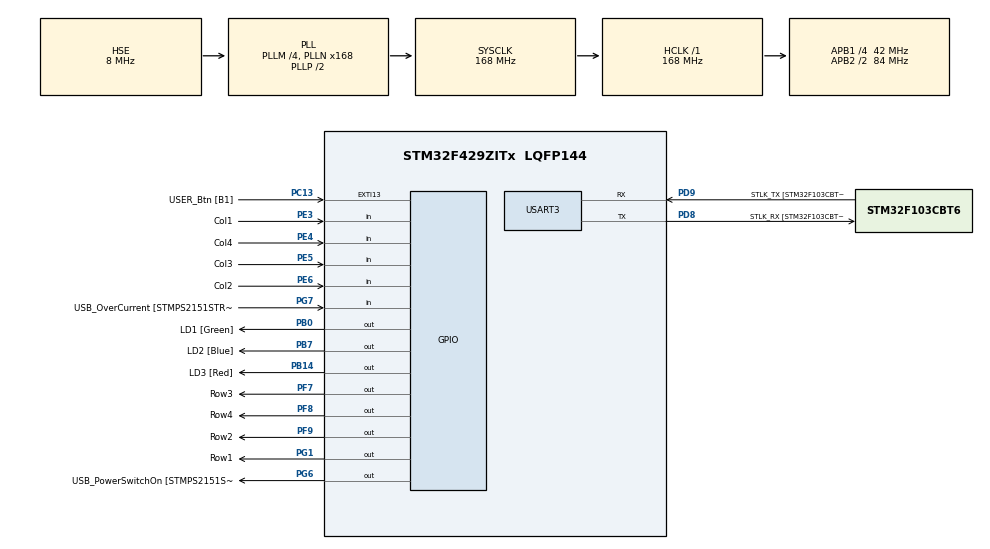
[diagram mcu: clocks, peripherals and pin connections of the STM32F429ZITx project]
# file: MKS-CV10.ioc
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Mcu.Family=STM32F4
Mcu.Name=STM32F429ZITx
Mcu.Package=LQFP144
NVIC.PriorityGroup=NVIC_PRIORITYGROUP_4
NVIC.TIM3_IRQn=true\:0\:0\:false\:false\:true\:true\:true\:true
PA1.GPIO_Label=RMII_REF_CLK [LAN8742A-CZ-TR_REFCLK0]
PA1.Signal=ETH_REF_CLK
PA10.GPIO_Label=USB_ID
PA10.Signal=USB_OTG_FS_ID
PA11.GPIO_Label=USB_DM
PA11.Signal=USB_OTG_FS_DM
PA12.GPIO_Label=USB_DP
PA12.Signal=USB_OTG_FS_DP
PA13.GPIO_Label=TMS
PA13.Mode=Serial_Wire
PA13.Signal=SYS_JTMS-SWDIO
PA14.GPIO_Label=TCK
PA14.Mode=Serial_Wire
PA14.Signal=SYS_JTCK-SWCLK
PA2.GPIO_Label=RMII_MDIO [LAN8742A-CZ-TR_MDIO]
PA2.Signal=ETH_MDIO
PA7.GPIO_Label=RMII_CRS_DV [LAN8742A-CZ-TR_CRS_DV]
PA7.Signal=ETH_CRS_DV
PA8.GPIO_Label=USB_SOF [TP1]
PA8.Signal=USB_OTG_FS_SOF
PA9.GPIO_Label=USB_VBUS
PA9.Signal=USB_OTG_FS_VBUS
PB0.GPIO_Label=LD1 [Green]
PB0.Signal=GPIO_Output
PB13.GPIO_Label=RMII_TXD1 [LAN8742A-CZ-TR_TXD1]
PB13.Signal=ETH_TXD1
PB14.GPIO_Label=LD3 [Red]
PB14.Signal=GPIO_Output
PB7.GPIO_Label=LD2 [Blue]
PB7.Signal=GPIO_Output
PC1.GPIO_Label=RMII_MDC [LAN8742A-CZ-TR_MDC]
PC1.Signal=ETH_MDC
PC13.GPIO_Label=USER_Btn [B1]
PC13.Signal=GPXTI13
PC14/OSC32_IN.Mode=LSE-External-Oscillator
PC14/OSC32_IN.Signal=RCC_OSC32_IN
PC15/OSC32_OUT.Mode=LSE-External-Oscillator
PC15/OSC32_OUT.Signal=RCC_OSC32_OUT
PC4.GPIO_Label=RMII_RXD0 [LAN8742A-CZ-TR_RXD0]
PC4.Signal=ETH_RXD0
PC5.GPIO_Label=RMII_RXD1 [LAN8742A-CZ-TR_RXD1]
PC5.Signal=ETH_RXD1
PD8.GPIO_Label=STLK_RX [STM32F103CBT6_PA3]
PD8.Mode=Asynchronous
PD8.Signal=USART3_TX
PD9.GPIO_Label=STLK_TX [STM32F103CBT6_PA2]
PD9.Mode=Asynchronous
PD9.Signal=USART3_RX
PE3.GPIO_Label=Col1
PE3.GPIO_PuPd=GPIO_PULLUP
PE3.Signal=GPIO_Input
PE4.GPIO_Label=Col4
PE4.GPIO_PuPd=GPIO_PULLUP
PE4.Signal=GPIO_Input
PE5.GPIO_Label=Col3
PE5.GPIO_PuPd=GPIO_PULLUP
PE5.Signal=GPIO_Input
PE6.GPIO_Label=Col2
PE6.GPIO_PuPd=GPIO_PULLUP
PE6.Signal=GPIO_Input
PF7.GPIO_Label=Row3
PF7.GPIO_ModeDefaultOutputPP=GPIO_MODE_OUTPUT_OD
PF7.GPIO_PuPd=GPIO_NOPULL
PF7.Signal=GPIO_Output
PF8.GPIO_Label=Row4
PF8.GPIO_ModeDefaultOutputPP=GPIO_MODE_OUTPUT_OD
PF8.GPIO_PuPd=GPIO_NOPULL
PF8.Signal=GPIO_Output
PF9.GPIO_Label=Row2
PF9.GPIO_ModeDefaultOutputPP=GPIO_MODE_OUTPUT_OD
PF9.GPIO_PuPd=GPIO_NOPULL
PF9.Signal=GPIO_Output
PG1.GPIO_Label=Row1
PG1.GPIO_ModeDefaultOutputPP=GPIO_MODE_OUTPUT_OD
PG1.GPIO_PuPd=GPIO_NOPULL
PG1.Signal=GPIO_Output
PG11.GPIO_Label=RMII_TX_EN [LAN8742A-CZ-TR_TXEN]
PG11.Signal=ETH_TX_EN
PG13.GPIO_Label=RMII_TXD0 [LAN8742A-CZ-TR_TXD0]
PG13.Signal=ETH_TXD0
PG6.GPIO_Label=USB_PowerSwitchOn [STMPS2151STR_EN]
PG6.Signal=GPIO_Output
PG7.GPIO_Label=USB_OverCurrent [STMPS2151STR_FAULT]
PG7.Signal=GPIO_Input
PH0/OSC_IN.GPIO_Label=MCO [STM32F103CBT6_PA8]
PH0/OSC_IN.Mode=HSE-External-Clock-Source
PH0/OSC_IN.Signal=RCC_OSC_IN
PH1/OSC_OUT.Mode=HSE-External-Clock-Source
PH1/OSC_OUT.Signal=RCC_OSC_OUT
ProjectManager.HeapSize=0x200
ProjectManager.StackSize=0x400
ProjectManager.TargetToolchain=STM32CubeIDE
RCC.48MHZClocksFreq_Value=48000000
RCC.AHBFreq_Value=168000000
RCC.APB1CLKDivider=RCC_HCLK_DIV4
RCC.APB1Freq_Value=42000000
RCC.APB1TimFreq_Value=84000000
RCC.APB2CLKDivider=RCC_HCLK_DIV2
RCC.APB2Freq_Value=84000000
RCC.APB2TimCLKDivider=2
RCC.APB2TimFreq_Value=168000000
RCC.CortexFreq_Value=168000000
RCC.HCLKFreq_Value=168000000
RCC.HSE_VALUE=8000000
RCC.HSI_VALUE=16000000
RCC.PLLM=4
RCC.PLLMUL=RCC_PLL_MUL9
RCC.PLLN=168
RCC.PLLQ=7
RCC.PLLSourceVirtual=RCC_PLLSOURCE_HSE
RCC.PRESCALERUSB=RCC_USBCLKSOURCE_PLL_DIV1_5
RCC.SYSCLKFreq_VALUE=168000000
RCC.SYSCLKSource=RCC_SYSCLKSOURCE_PLLCLK
RCC.SYSCLKSourceVirtual=RCC_SYSCLKSOURCE_PLLCLK
RCC.USBFreq_Value=48000000
RCC.VCOOutputFreq_Value=336000000
TIM3.AutoReloadPreload=TIM_AUTORELOAD_PRELOAD_ENABLE
TIM3.Period=99
TIM3.Prescaler=8399
USART3.VirtualMode=VM_ASYNC
VP_TIM3_VS_ClockSourceINT.Mode=Internal
board=NUCLEO-F429ZI

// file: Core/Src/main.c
/* USER CODE BEGIN Header */
/**
  ******************************************************************************
  * @file           : main.c
  * @brief          : Main program body
  ******************************************************************************
  * @attention
  *
  * Copyright (c) 2023 STMicroelectronics.
  * All rights reserved.
  *
  * This software is licensed under terms that can be found in the LICENSE file
  * in the root directory of this software component.
  * If no LICENSE file comes with this software, it is provided AS-IS.
  *
  ******************************************************************************
  */
/* USER CODE END Header */
#include "main.h"

/* USER CODE BEGIN Includes */
#include <stdio.h>

/* USER CODE END Includes */

TIM_HandleTypeDef htim3;

UART_HandleTypeDef huart3;

/* USER CODE BEGIN PV */
volatile static uint32_t key;
static const uint32_t true_code[] = {7,9,3,2,12};
static uint32_t typed_code[] = {0,0,0,0,0};

/* USER CODE END PV */

void SystemClock_Config(void);
static void MX_GPIO_Init(void);
static void MX_USART3_UART_Init(void);
static void MX_TIM3_Init(void);

/* USER CODE BEGIN 0 */
int __io_putchar(int ch)
{
	ITM_SendChar(ch);
	return 0;
}

/* USER CODE END 0 */

int main(void)
{

  /* MCU Configuration--------------------------------------------------------*/

  /* Reset of all peripherals, Initializes the Flash interface and the Systick. */
  HAL_Init();

  /* Configure the system clock */
  SystemClock_Config();

  /* Initialize all configured peripherals */
  MX_GPIO_Init();
  MX_USART3_UART_Init();
  MX_TIM3_Init();
  /* USER CODE BEGIN 2 */
  HAL_TIM_Base_Start_IT(&htim3);
  uint32_t holdon = HAL_GetTick() + 3000;
  uint8_t index = 0;
  /* USER CODE END 2 */

  /* Infinite loop */
  /* USER CODE BEGIN WHILE */
  while (1)
  {
	  if(key != -1)
	  {
		  typed_code[index] = key;
		  holdon = HAL_GetTick() + 3000;
		  printf("Entered: %ld \n", typed_code[index]);
		  if(true_code[index] == typed_code[index])
		  {
			  //printf("Digit %d correct\n", index);
			  if(true_code[4] == typed_code[4])
			  {
				  printf("Access granted\n");
				  HAL_GPIO_TogglePin(LD1_GPIO_Port, LD1_Pin);
				  HAL_Delay(2000);
				  HAL_GPIO_TogglePin(LD1_GPIO_Port, LD1_Pin);

			  }
			  index++;
		  }
		  else
		  {
			  index = 0;
			  for(uint8_t a = 1; a < 6; a++)//clear
			  {
				  typed_code[a] = 0;
			  }
		  }
		  HAL_Delay(300);
		  key = -1;
	  }

	  if(HAL_GetTick() >= holdon && typed_code[0] != 0)
	  {
		  index = 0;
		  holdon = HAL_GetTick() +3000;
		  for(uint8_t b = 0; b < 6; b++)//clear
		  {
			  typed_code[b] = 0;
		  }
		  printf("Time out! \n");
	  }

    /* USER CODE END WHILE */

  }
}

void SystemClock_Config(void)
{
  RCC_OscInitTypeDef RCC_OscInitStruct = {0};
  RCC_ClkInitTypeDef RCC_ClkInitStruct = {0};

  /** Configure the main internal regulator output voltage
  */
  __HAL_RCC_PWR_CLK_ENABLE();
  __HAL_PWR_VOLTAGESCALING_CONFIG(PWR_REGULATOR_VOLTAGE_SCALE1);

  /** Initializes the RCC Oscillators according to the specified parameters
  * in the RCC_OscInitTypeDef structure.
  */
  RCC_OscInitStruct.OscillatorType = RCC_OSCILLATORTYPE_HSE;
  RCC_OscInitStruct.HSEState = RCC_HSE_BYPASS;
  RCC_OscInitStruct.PLL.PLLState = RCC_PLL_ON;
  RCC_OscInitStruct.PLL.PLLSource = RCC_PLLSOURCE_HSE;
  RCC_OscInitStruct.PLL.PLLM = 4;
  RCC_OscInitStruct.PLL.PLLN = 168;
  RCC_OscInitStruct.PLL.PLLP = RCC_PLLP_DIV2;
  RCC_OscInitStruct.PLL.PLLQ = 7;
  if (HAL_RCC_OscConfig(&RCC_OscInitStruct) != HAL_OK)
  {
    Error_Handler();
  }

  /** Initializes the CPU, AHB and APB buses clocks
  */
  RCC_ClkInitStruct.ClockType = RCC_CLOCKTYPE_HCLK|RCC_CLOCKTYPE_SYSCLK
                              |RCC_CLOCKTYPE_PCLK1|RCC_CLOCKTYPE_PCLK2;
  RCC_ClkInitStruct.SYSCLKSource = RCC_SYSCLKSOURCE_PLLCLK;
  RCC_ClkInitStruct.AHBCLKDivider = RCC_SYSCLK_DIV1;
  RCC_ClkInitStruct.APB1CLKDivider = RCC_HCLK_DIV4;
  RCC_ClkInitStruct.APB2CLKDivider = RCC_HCLK_DIV2;

  if (HAL_RCC_ClockConfig(&RCC_ClkInitStruct, FLASH_LATENCY_5) != HAL_OK)
  {
    Error_Handler();
  }
}

static void MX_TIM3_Init(void)
{

  TIM_ClockConfigTypeDef sClockSourceConfig = {0};
  TIM_MasterConfigTypeDef sMasterConfig = {0};

  htim3.Instance = TIM3;
  htim3.Init.Prescaler = 8399;
  htim3.Init.CounterMode = TIM_COUNTERMODE_UP;
  htim3.Init.Period = 99;
  htim3.Init.ClockDivision = TIM_CLOCKDIVISION_DIV1;
  htim3.Init.AutoReloadPreload = TIM_AUTORELOAD_PRELOAD_ENABLE;
  if (HAL_TIM_Base_Init(&htim3) != HAL_OK)
  {
    Error_Handler();
  }
  sClockSourceConfig.ClockSource = TIM_CLOCKSOURCE_INTERNAL;
  if (HAL_TIM_ConfigClockSource(&htim3, &sClockSourceConfig) != HAL_OK)
  {
    Error_Handler();
  }
  sMasterConfig.MasterOutputTrigger = TIM_TRGO_RESET;
  sMasterConfig.MasterSlaveMode = TIM_MASTERSLAVEMODE_DISABLE;
  if (HAL_TIMEx_MasterConfigSynchronization(&htim3, &sMasterConfig) != HAL_OK)
  {
    Error_Handler();
  }

}

static void MX_USART3_UART_Init(void)
{

  huart3.Instance = USART3;
  huart3.Init.BaudRate = 115200;
  huart3.Init.WordLength = UART_WORDLENGTH_8B;
  huart3.Init.StopBits = UART_STOPBITS_1;
  huart3.Init.Parity = UART_PARITY_NONE;
  huart3.Init.Mode = UART_MODE_TX_RX;
  huart3.Init.HwFlowCtl = UART_HWCONTROL_NONE;
  huart3.Init.OverSampling = UART_OVERSAMPLING_16;
  if (HAL_UART_Init(&huart3) != HAL_OK)
  {
    Error_Handler();
  }

}

static void MX_GPIO_Init(void)
{
  GPIO_InitTypeDef GPIO_InitStruct = {0};

  /* GPIO Ports Clock Enable */
  __HAL_RCC_GPIOE_CLK_ENABLE();
  __HAL_RCC_GPIOC_CLK_ENABLE();
  __HAL_RCC_GPIOF_CLK_ENABLE();
  __HAL_RCC_GPIOH_CLK_ENABLE();
  __HAL_RCC_GPIOA_CLK_ENABLE();
  __HAL_RCC_GPIOB_CLK_ENABLE();
  __HAL_RCC_GPIOG_CLK_ENABLE();
  __HAL_RCC_GPIOD_CLK_ENABLE();

  /*Configure GPIO pin Output Level */
  HAL_GPIO_WritePin(GPIOF, Row3_Pin|Row4_Pin|Row2_Pin, GPIO_PIN_RESET);

  /*Configure GPIO pin Output Level */
  HAL_GPIO_WritePin(GPIOB, LD1_Pin|LD3_Pin|LD2_Pin, GPIO_PIN_RESET);

  /*Configure GPIO pin Output Level */
  HAL_GPIO_WritePin(GPIOG, Row1_Pin|USB_PowerSwitchOn_Pin, GPIO_PIN_RESET);

  /*Configure GPIO pins : Col1_Pin Col4_Pin Col3_Pin Col2_Pin */
  GPIO_InitStruct.Pin = Col1_Pin|Col4_Pin|Col3_Pin|Col2_Pin;
  GPIO_InitStruct.Mode = GPIO_MODE_INPUT;
  GPIO_InitStruct.Pull = GPIO_PULLUP;
  HAL_GPIO_Init(GPIOE, &GPIO_InitStruct);

  /*Configure GPIO pin : USER_Btn_Pin */
  GPIO_InitStruct.Pin = USER_Btn_Pin;
  GPIO_InitStruct.Mode = GPIO_MODE_IT_RISING;
  GPIO_InitStruct.Pull = GPIO_NOPULL;
  HAL_GPIO_Init(USER_Btn_GPIO_Port, &GPIO_InitStruct);

  /*Configure GPIO pins : Row3_Pin Row4_Pin Row2_Pin */
  GPIO_InitStruct.Pin = Row3_Pin|Row4_Pin|Row2_Pin;
  GPIO_InitStruct.Mode = GPIO_MODE_OUTPUT_OD;
  GPIO_InitStruct.Pull = GPIO_NOPULL;
  GPIO_InitStruct.Speed = GPIO_SPEED_FREQ_LOW;
  HAL_GPIO_Init(GPIOF, &GPIO_InitStruct);

  /*Configure GPIO pins : RMII_MDC_Pin RMII_RXD0_Pin RMII_RXD1_Pin */
  GPIO_InitStruct.Pin = RMII_MDC_Pin|RMII_RXD0_Pin|RMII_RXD1_Pin;
  GPIO_InitStruct.Mode = GPIO_MODE_AF_PP;
  GPIO_InitStruct.Pull = GPIO_NOPULL;
  GPIO_InitStruct.Speed = GPIO_SPEED_FREQ_VERY_HIGH;
  GPIO_InitStruct.Alternate = GPIO_AF11_ETH;
  HAL_GPIO_Init(GPIOC, &GPIO_InitStruct);

  /*Configure GPIO pins : RMII_REF_CLK_Pin RMII_MDIO_Pin RMII_CRS_DV_Pin */
  GPIO_InitStruct.Pin = RMII_REF_CLK_Pin|RMII_MDIO_Pin|RMII_CRS_DV_Pin;
  GPIO_InitStruct.Mode = GPIO_MODE_AF_PP;
  GPIO_InitStruct.Pull = GPIO_NOPULL;
  GPIO_InitStruct.Speed = GPIO_SPEED_FREQ_VERY_HIGH;
  GPIO_InitStruct.Alternate = GPIO_AF11_ETH;
  HAL_GPIO_Init(GPIOA, &GPIO_InitStruct);

  /*Configure GPIO pins : LD1_Pin LD3_Pin LD2_Pin */
  GPIO_InitStruct.Pin = LD1_Pin|LD3_Pin|LD2_Pin;
  GPIO_InitStruct.Mode = GPIO_MODE_OUTPUT_PP;
  GPIO_InitStruct.Pull = GPIO_NOPULL;
  GPIO_InitStruct.Speed = GPIO_SPEED_FREQ_LOW;
  HAL_GPIO_Init(GPIOB, &GPIO_InitStruct);

  /*Configure GPIO pin : Row1_Pin */
  GPIO_InitStruct.Pin = Row1_Pin;
  GPIO_InitStruct.Mode = GPIO_MODE_OUTPUT_OD;
  GPIO_InitStruct.Pull = GPIO_NOPULL;
  GPIO_InitStruct.Speed = GPIO_SPEED_FREQ_LOW;
  HAL_GPIO_Init(Row1_GPIO_Port, &GPIO_InitStruct);

  /*Configure GPIO pin : RMII_TXD1_Pin */
  GPIO_InitStruct.Pin = RMII_TXD1_Pin;
  GPIO_InitStruct.Mode = GPIO_MODE_AF_PP;
  GPIO_InitStruct.Pull = GPIO_NOPULL;
  GPIO_InitStruct.Speed = GPIO_SPEED_FREQ_VERY_HIGH;
  GPIO_InitStruct.Alternate = GPIO_AF11_ETH;
  HAL_GPIO_Init(RMII_TXD1_GPIO_Port, &GPIO_InitStruct);

  /*Configure GPIO pin : USB_PowerSwitchOn_Pin */
  GPIO_InitStruct.Pin = USB_PowerSwitchOn_Pin;
  GPIO_InitStruct.Mode = GPIO_MODE_OUTPUT_PP;
  GPIO_InitStruct.Pull = GPIO_NOPULL;
  GPIO_InitStruct.Speed = GPIO_SPEED_FREQ_LOW;
  HAL_GPIO_Init(USB_PowerSwitchOn_GPIO_Port, &GPIO_InitStruct);

  /*Configure GPIO pin : USB_OverCurrent_Pin */
  GPIO_InitStruct.Pin = USB_OverCurrent_Pin;
  GPIO_InitStruct.Mode = GPIO_MODE_INPUT;
  GPIO_InitStruct.Pull = GPIO_NOPULL;
  HAL_GPIO_Init(USB_OverCurrent_GPIO_Port, &GPIO_InitStruct);

  /*Configure GPIO pins : USB_SOF_Pin USB_ID_Pin USB_DM_Pin USB_DP_Pin */
  GPIO_InitStruct.Pin = USB_SOF_Pin|USB_ID_Pin|USB_DM_Pin|USB_DP_Pin;
  GPIO_InitStruct.Mode = GPIO_MODE_AF_PP;
  GPIO_InitStruct.Pull = GPIO_NOPULL;
  GPIO_InitStruct.Speed = GPIO_SPEED_FREQ_VERY_HIGH;
  GPIO_InitStruct.Alternate = GPIO_AF10_OTG_FS;
  HAL_GPIO_Init(GPIOA, &GPIO_InitStruct);

  /*Configure GPIO pin : USB_VBUS_Pin */
  GPIO_InitStruct.Pin = USB_VBUS_Pin;
  GPIO_InitStruct.Mode = GPIO_MODE_INPUT;
  GPIO_InitStruct.Pull = GPIO_NOPULL;
  HAL_GPIO_Init(USB_VBUS_GPIO_Port, &GPIO_InitStruct);

  /*Configure GPIO pins : RMII_TX_EN_Pin RMII_TXD0_Pin */
  GPIO_InitStruct.Pin = RMII_TX_EN_Pin|RMII_TXD0_Pin;
  GPIO_InitStruct.Mode = GPIO_MODE_AF_PP;
  GPIO_InitStruct.Pull = GPIO_NOPULL;
  GPIO_InitStruct.Speed = GPIO_SPEED_FREQ_VERY_HIGH;
  GPIO_InitStruct.Alternate = GPIO_AF11_ETH;
  HAL_GPIO_Init(GPIOG, &GPIO_InitStruct);

}

/* USER CODE BEGIN 4 */
void HAL_TIM_PeriodElapsedCallback(TIM_HandleTypeDef *htim)
{
	 static int row = 0;
	 static const int keyboard[4][4] = {
		 { 1, 2, 3, 21 },
		 { 4, 5, 6, 22 },
		 { 7, 8, 9, 23 },
		 { 11, 0, 12, 24 },
	 };
	 if (key == -1) {
		 if (HAL_GPIO_ReadPin(Col1_GPIO_Port, Col1_Pin) == GPIO_PIN_RESET) key = keyboard[row][0];
		 if (HAL_GPIO_ReadPin(Col2_GPIO_Port, Col2_Pin) == GPIO_PIN_RESET) key = keyboard[row][1];
		 if (HAL_GPIO_ReadPin(Col3_GPIO_Port, Col3_Pin) == GPIO_PIN_RESET) key = keyboard[row][2];
		 if (HAL_GPIO_ReadPin(Col4_GPIO_Port, Col4_Pin) == GPIO_PIN_RESET) key = keyboard[row][3];
	 }
	 HAL_GPIO_WritePin(Row1_GPIO_Port, Row1_Pin, GPIO_PIN_SET);
	 HAL_GPIO_WritePin(Row2_GPIO_Port, Row2_Pin, GPIO_PIN_SET);
	 HAL_GPIO_WritePin(Row3_GPIO_Port, Row3_Pin, GPIO_PIN_SET);
	 HAL_GPIO_WritePin(Row4_GPIO_Port, Row4_Pin, GPIO_PIN_SET);
	 switch (row) {
		 case 0: row = 1; HAL_GPIO_WritePin(Row2_GPIO_Port, Row2_Pin, GPIO_PIN_RESET); break;
		 case 1: row = 2; HAL_GPIO_WritePin(Row3_GPIO_Port, Row3_Pin, GPIO_PIN_RESET); break;
		 case 2: row = 3; HAL_GPIO_WritePin(Row4_GPIO_Port, Row4_Pin, GPIO_PIN_RESET); break;
		 case 3: row = 0; HAL_GPIO_WritePin(Row1_GPIO_Port, Row1_Pin, GPIO_PIN_RESET); break;
	 }
}

/* USER CODE END 4 */

void Error_Handler(void)
{
  __disable_irq();
  while (1)
  {
  }
}
